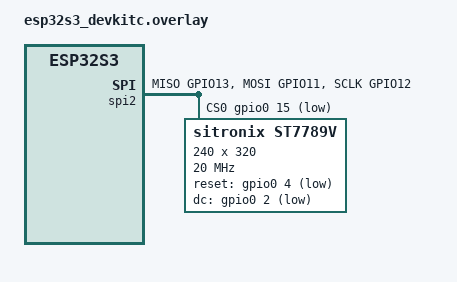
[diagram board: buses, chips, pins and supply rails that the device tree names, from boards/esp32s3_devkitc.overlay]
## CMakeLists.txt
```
# SPDX-License-Identifier: Apache-2.0

cmake_minimum_required(VERSION 3.20.0)

#set(SHIELD st7789v_tl019fqv01)

find_package(Zephyr REQUIRED HINTS $ENV{ZEPHYR_BASE})
project(lvgl)

#FILE(GLOB app_sources src/main.c)
#target_sources(app PRIVATE ${app_sources})

FILE(GLOB app_sources src/mainplot.c src/lvgl_demo_ui.c)
target_sources(app PRIVATE ${app_sources})
```

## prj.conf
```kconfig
CONFIG_LV_Z_SHELL=y

CONFIG_LOG=y
CONFIG_SHELL=y

# 启用ARM MPU（Memory Protection Unit）配置
CONFIG_ARM_MPU=y
 
# 设置堆内存池大小为8192字节
CONFIG_HEAP_MEM_POOL_SIZE=8192
 
# 启用I2C配置
CONFIG_I2C=y
 
# 设置主栈大小为2048字节
CONFIG_MAIN_STACK_SIZE=2048
 
# 启用硬件栈保护
CONFIG_HW_STACK_PROTECTION=y
 
# 启用GPIO配置
CONFIG_GPIO=y
 
# 启用控制台配置
CONFIG_CONSOLE=y
 
# 启用显示配置
CONFIG_DISPLAY=y
CONFIG_DISPLAY_LOG_LEVEL_ERR=y
CONFIG_ST7789V=y
CONFIG_SPI=y

# 启用LVGL图形库配置
CONFIG_LVGL=y
 
# 使用LVGL最小配置
CONFIG_LV_CONF_MINIMAL=y
 
# 使用自定义LVGL内存管理
CONFIG_LV_MEM_CUSTOM=y
 
# 设置LVGL z缓冲区内存池大小为8192字节
CONFIG_LV_Z_MEM_POOL_SIZE=8192
 
# 设置LVGL z缓冲区大小为16
CONFIG_LV_Z_VDB_SIZE=16
 
# 设置LVGL每个像素的位数为16
CONFIG_LV_Z_BITS_PER_PIXEL=16
 
# 启用LVGL仪表盘组件
CONFIG_LV_USE_METER=y
 
# 使用默认主题
CONFIG_LV_USE_THEME_DEFAULT=y
 
# 使用默认主题的暗黑模式
CONFIG_LV_THEME_DEFAULT_DARK=y
 
# 启用LVGL日志功能
CONFIG_LV_USE_LOG=y
 
# 启用LVGL标签组件
CONFIG_LV_USE_LABEL=y
 
# 启用LVGL按钮组件
CONFIG_LV_USE_BTN=y
 
# 启用LVGL弧形组件
CONFIG_LV_USE_ARC=y
 
# 启用LVGL图片组件
CONFIG_LV_USE_IMG=y
 
# 启用LVGL压力测试工具
CONFIG_LV_USE_MONKEY=y
 
# 启用蒙塞拉特字体14号
CONFIG_LV_FONT_MONTSERRAT_14=y
```

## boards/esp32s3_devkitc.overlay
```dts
#include <zephyr/dt-bindings/mipi_dbi/mipi_dbi.h>
 
/ {
    chosen {
        zephyr,display = &st7789v;
    };
};

/* ESP32-S3 SPI2 configuration */
&spi2 {
    status = "okay";
    pinctrl-0 = <&spim2_default>;
    pinctrl-names = "default";
    cs-gpios = <&gpio0 15 GPIO_ACTIVE_LOW>;

    st7789v: st7789v@0 {
        compatible = "sitronix,st7789v";  // Must match exactly
        reg = <0>;
        spi-max-frequency = <20000000>;
        width = <240>;
        height = <320>;
        reset-gpios = <&gpio0 4 GPIO_ACTIVE_LOW>;
        dc-gpios = <&gpio0 2 GPIO_ACTIVE_LOW>;
        rotation = <0>;
    };
};

/* ESP32-S3 specific pinctrl */
&pinctrl {
    spim2_default: spim2_default {
        group1 {
            pinmux = <SPIM2_MISO_GPIO13>,
                     <SPIM2_MOSI_GPIO11>,
                     <SPIM2_SCLK_GPIO12>;
            bias-pull-up;
        };
    };
};
```

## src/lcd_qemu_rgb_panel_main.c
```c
/*
 * SPDX-FileCopyrightText: 2023 Espressif Systems (Shanghai) CO LTD
 *
 * SPDX-License-Identifier: CC0-1.0
 */
 
#include <stdio.h>
#include "sdkconfig.h"
#include "freertos/FreeRTOS.h"
#include "freertos/task.h"
#include "freertos/semphr.h"
#include "esp_timer.h"
#include "esp_lcd_panel_ops.h"
#include "esp_lcd_qemu_rgb.h"
#include "driver/gpio.h"
#include "esp_err.h"
#include "esp_log.h"
#include "lvgl.h"
 
static const char *TAG = "example";
 
/**
 * 32-bit and 16-bit colors are currently supported by QEMU RGB Panel
 */
#if CONFIG_LV_COLOR_DEPTH_32
#define CURRENT_COLOR_DEPTH RGB_QEMU_BPP_32
#elif CONFIG_LV_COLOR_DEPTH_16
#define CURRENT_COLOR_DEPTH RGB_QEMU_BPP_16
#else
#error "QEMU RGB Panel only supports 32-bit and 16-bit colors, please enable LV_COLOR_DEPTH_32 or LV_COLOR_DEPTH_16"
#endif
 
// The pixel number in horizontal and vertical
#define EXAMPLE_LCD_H_RES              800
#define EXAMPLE_LCD_V_RES              480
 
#define EXAMPLE_LVGL_TICK_PERIOD_MS    2
#define EXAMPLE_LVGL_TASK_MAX_DELAY_MS 500
#define EXAMPLE_LVGL_TASK_MIN_DELAY_MS 1
#define EXAMPLE_LVGL_TASK_STACK_SIZE   (4 * 1024)
#define EXAMPLE_LVGL_TASK_PRIORITY     2
 
static SemaphoreHandle_t lvgl_mux = NULL;
 
extern void example_lvgl_demo_ui(lv_disp_t *disp);
 
 
static void example_lvgl_flush_cb(lv_disp_drv_t *drv, const lv_area_t *area, lv_color_t *color_map)
{
    esp_lcd_panel_handle_t panel_handle = (esp_lcd_panel_handle_t) drv->user_data;
    int offsetx1 = area->x1;
    int offsetx2 = area->x2;
    int offsety1 = area->y1;
    int offsety2 = area->y2;
    // pass the draw buffer to the driver
    esp_lcd_panel_draw_bitmap(panel_handle, offsetx1, offsety1, offsetx2 + 1, offsety2 + 1, color_map);
    lv_disp_flush_ready(drv);
}
 
static void example_increase_lvgl_tick(void *arg)
{
    /* Tell LVGL how many milliseconds has elapsed */
    lv_tick_inc(EXAMPLE_LVGL_TICK_PERIOD_MS);
}
 
bool example_lvgl_lock(int timeout_ms)
{
    // Convert timeout in milliseconds to FreeRTOS ticks
    // If `timeout_ms` is set to -1, the program will block until the condition is met
    const TickType_t timeout_ticks = (timeout_ms == -1) ? portMAX_DELAY : pdMS_TO_TICKS(timeout_ms);
    return xSemaphoreTakeRecursive(lvgl_mux, timeout_ticks) == pdTRUE;
}
 
void example_lvgl_unlock(void)
{
    xSemaphoreGiveRecursive(lvgl_mux);
}
 
static void example_lvgl_port_task(void *arg)
{
    ESP_LOGI(TAG, "Starting LVGL task");
    uint32_t task_delay_ms = EXAMPLE_LVGL_TASK_MAX_DELAY_MS;
    while (1) {
        // Lock the mutex due to the LVGL APIs are not thread-safe
        if (example_lvgl_lock(-1)) {
            task_delay_ms = lv_timer_handler();
            // Release the mutex
            example_lvgl_unlock();
        }
        if (task_delay_ms > EXAMPLE_LVGL_TASK_MAX_DELAY_MS) {
            task_delay_ms = EXAMPLE_LVGL_TASK_MAX_DELAY_MS;
        } else if (task_delay_ms < EXAMPLE_LVGL_TASK_MIN_DELAY_MS) {
            task_delay_ms = EXAMPLE_LVGL_TASK_MIN_DELAY_MS;
        }
        vTaskDelay(pdMS_TO_TICKS(task_delay_ms));
    }
}

static size_t example_lvgl_get_buffers(esp_lcd_panel_handle_t panel_handle, void **buf1, void **buf2)
{
    if (buf2) {
        *buf2 = NULL;
    }
#if CONFIG_EXAMPLE_QEMU_RGB_PANEL_DEDIC_FB
    ESP_LOGI(TAG, "Use QEMU dedicated frame buffer as LVGL draw buffer");
    ESP_ERROR_CHECK(esp_lcd_rgb_qemu_get_frame_buffer(panel_handle, buf1));
    return EXAMPLE_LCD_H_RES * EXAMPLE_LCD_V_RES;
#else
    ESP_LOGI(TAG, "Allocate separate LVGL draw buffer");
    /* Allocate 10 horizontal lines as the frame buffer */
    *buf1 = malloc(EXAMPLE_LCD_H_RES * 10 * sizeof(lv_color_t));
    assert(*buf1);
    return EXAMPLE_LCD_H_RES * 10;
#endif // CONFIG_EXAMPLE_DOUBLE_FB
}

void app_main(void)
{
    static lv_disp_draw_buf_t disp_buf; // contains internal graphic buffer(s) called draw buffer(s)
    static lv_disp_drv_t disp_drv;      // contains callback functions
 
    ESP_LOGI(TAG, "Install RGB LCD panel driver");
    esp_lcd_panel_handle_t panel_handle = NULL;
    esp_lcd_rgb_qemu_config_t panel_config = {
        .width = EXAMPLE_LCD_H_RES,
        .height = EXAMPLE_LCD_V_RES,
        .bpp = CURRENT_COLOR_DEPTH,
    };
    ESP_ERROR_CHECK(esp_lcd_new_rgb_qemu(&panel_config, &panel_handle));
 
    ESP_LOGI(TAG, "Initialize RGB LCD panel");
    ESP_ERROR_CHECK(esp_lcd_panel_reset(panel_handle));
    ESP_ERROR_CHECK(esp_lcd_panel_init(panel_handle));
 
    ESP_LOGI(TAG, "Initialize LVGL library");
    lv_init();
    void *buf1 = NULL;
    void *buf2 = NULL;
    const size_t buf_pixels = example_lvgl_get_buffers(panel_handle, &buf1, &buf2);
    lv_disp_draw_buf_init(&disp_buf, buf1, buf2, buf_pixels);

    ESP_LOGI(TAG, "Register display driver to LVGL");
    lv_disp_drv_init(&disp_drv);
    disp_drv.hor_res = EXAMPLE_LCD_H_RES;
    disp_drv.ver_res = EXAMPLE_LCD_V_RES;
    disp_drv.flush_cb = example_lvgl_flush_cb;
    disp_drv.draw_buf = &disp_buf;
    disp_drv.user_data = panel_handle;
#if CONFIG_EXAMPLE_QEMU_RGB_PANEL_DEDIC_FB
    disp_drv.full_refresh = true; // the full_refresh mode can maintain the synchronization between the two frame buffers
#endif
    lv_disp_t *disp = lv_disp_drv_register(&disp_drv);

    ESP_LOGI(TAG, "Install LVGL tick timer");
    // Tick interface for LVGL (using esp_timer to generate 2ms periodic event)
    const esp_timer_create_args_t lvgl_tick_timer_args = {
        .callback = &example_increase_lvgl_tick,
        .name = "lvgl_tick"
    };
    esp_timer_handle_t lvgl_tick_timer = NULL;
    ESP_ERROR_CHECK(esp_timer_create(&lvgl_tick_timer_args, &lvgl_tick_timer));
    ESP_ERROR_CHECK(esp_timer_start_periodic(lvgl_tick_timer, EXAMPLE_LVGL_TICK_PERIOD_MS * 1000));
 
    lvgl_mux = xSemaphoreCreateRecursiveMutex();
    assert(lvgl_mux);
    ESP_LOGI(TAG, "Create LVGL task");
    xTaskCreate(example_lvgl_port_task, "LVGL", EXAMPLE_LVGL_TASK_STACK_SIZE, NULL, EXAMPLE_LVGL_TASK_PRIORITY, NULL);
 
    ESP_LOGI(TAG, "Display LVGL Scatter Chart");
    // Lock the mutex due to the LVGL APIs are not thread-safe
    if (example_lvgl_lock(-1)) {
        example_lvgl_demo_ui(disp);
        // Release the mutex
        example_lvgl_unlock();
    }
}
```

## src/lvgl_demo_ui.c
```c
/*
 * SPDX-FileCopyrightText: 2023 Espressif Systems (Shanghai) CO LTD
 *
 * SPDX-License-Identifier: CC0-1.0
 */
 
// This demo UI is adapted from LVGL official example: https://docs.lvgl.io/master/examples.html#scatter-chart

#include <lvgl.h>
#include <stdio.h>
 
static void draw_event_cb(lv_event_t *e)
{
  /*lv_draw_line_dsc_t line_dsc;
  lv_draw_line_dsc_init(&line_dsc);
  lv_obj_init_draw_line_dsc(obj, LV_PART_INDICATOR, &line_dsc); // Fetching style for LV_PART_INDICATOR
  line_dsc.p1 = point_a;
  line_dsc.p2 = point_b;
  lv_draw_line(layer, &line_dsc);*/

/*    lv_obj_draw_part_dsc_t *dsc = lv_event_get_draw_part_dsc(e);
    if (dsc->part == LV_PART_ITEMS) {
        lv_obj_t *obj = lv_event_get_target(e);
        lv_chart_series_t *ser = lv_chart_get_series_next(obj, NULL);
        uint32_t cnt = lv_chart_get_point_count(obj);
        dsc->rect_dsc->bg_opa = (LV_OPA_COVER *  dsc->id) / (cnt - 1);
 
        lv_coord_t *x_array = lv_chart_get_x_array(obj, ser);
        lv_coord_t *y_array = lv_chart_get_y_array(obj, ser);
        uint32_t start_point = lv_chart_get_x_start_point(obj, ser);
        uint32_t p_act = (start_point + dsc->id) % cnt;
        lv_opa_t x_opa = (x_array[p_act] * LV_OPA_50) / 200;
        lv_opa_t y_opa = (y_array[p_act] * LV_OPA_50) / 1000;
 
        dsc->rect_dsc->bg_color = lv_color_mix(lv_palette_main(LV_PALETTE_RED),
                                               lv_palette_main(LV_PALETTE_BLUE),
                                               x_opa + y_opa);
    }*/
}
 
static void add_data(lv_timer_t *timer)
{
    lv_obj_t *chart = lv_timer_get_user_data(timer);
    lv_chart_set_next_value2(chart, lv_chart_get_series_next(chart, NULL), lv_rand(0, 200), lv_rand(0, 1000));
}
 
void example_lvgl_demo_ui(/*lv_disp_t *disp*/)
{
    //lv_obj_t *scr = lv_disp_get_scr_act(disp);
    lv_obj_t *scr = lv_screen_active();
    lv_obj_t *chart = lv_chart_create(scr);
    lv_obj_set_size(chart, 200, 150);
    lv_obj_align(chart, LV_ALIGN_CENTER, 0, 0);
    lv_obj_add_event_cb(chart, draw_event_cb, LV_EVENT_DRAW_MAIN_BEGIN, NULL);
    lv_obj_set_style_line_width(chart, 0, LV_PART_ITEMS);   /*Remove the lines*/
 
    lv_chart_set_type(chart, LV_CHART_TYPE_SCATTER);
 
    //lv_chart_set_axis_tick(chart, LV_CHART_AXIS_PRIMARY_X, 5, 5, 5, 1, true, 30);
    //lv_chart_set_axis_tick(chart, LV_CHART_AXIS_PRIMARY_Y, 10, 5, 6, 5, true, 50);
    //lv_scale_set_total_tick_count(chart, 5);
    //lv_scale_set_major_tick_every(chart, 1);

    lv_chart_set_range(chart, LV_CHART_AXIS_PRIMARY_X, 0, 200);
    lv_chart_set_range(chart, LV_CHART_AXIS_PRIMARY_Y, 0, 1000);
 
    lv_chart_set_point_count(chart, 50);
 
    lv_chart_series_t *ser = lv_chart_add_series(chart, lv_palette_main(LV_PALETTE_RED), LV_CHART_AXIS_PRIMARY_Y);
    for (int i = 0; i < 50; i++) {
        lv_chart_set_next_value2(chart, ser, lv_rand(0, 200), lv_rand(0, 1000));
    }
 
    lv_timer_create(add_data, 100, chart);
}
```

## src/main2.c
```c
/*
 * Copyright (c) 2018 Jan Van Winkel <jan.van_winkel@dxplore.eu>
 *
 * SPDX-License-Identifier: Apache-2.0
 */
 
#include <zephyr/device.h>
#include <zephyr/devicetree.h>
#include <zephyr/drivers/display.h>
#include <zephyr/drivers/gpio.h>
#include <lvgl.h>
#include <stdio.h>
#include <string.h>
#include <zephyr/kernel.h>
#include <lvgl_input_device.h>
 
#define LOG_LEVEL CONFIG_LOG_DEFAULT_LEVEL
#include <zephyr/logging/log.h>
LOG_MODULE_REGISTER(app);
 
#define LED0_NODE DT_ALIAS(led0)
static const struct gpio_dt_spec led = GPIO_DT_SPEC_GET(LED0_NODE, gpios);
 
static uint32_t count;
 
#ifdef CONFIG_GPIO
static struct gpio_dt_spec button_gpio = GPIO_DT_SPEC_GET_OR(DT_ALIAS(sw0), gpios, {0});
static struct gpio_callback button_callback;
 
static void button_isr_callback(const struct device *port, struct gpio_callback *cb, uint32_t pins)
{
  ARG_UNUSED(port);
  ARG_UNUSED(cb);
  ARG_UNUSED(pins);
 
  count = 0;
}
#endif /* CONFIG_GPIO */
 
#ifdef CONFIG_LV_Z_ENCODER_INPUT
static const struct device *lvgl_encoder =
  DEVICE_DT_GET(DT_COMPAT_GET_ANY_STATUS_OKAY(zephyr_lvgl_encoder_input));
#endif /* CONFIG_LV_Z_ENCODER_INPUT */
 
#ifdef CONFIG_LV_Z_KEYPAD_INPUT
static const struct device *lvgl_keypad =
  DEVICE_DT_GET(DT_COMPAT_GET_ANY_STATUS_OKAY(zephyr_lvgl_keypad_input));
#endif /* CONFIG_LV_Z_KEYPAD_INPUT */
 
static void lv_btn_click_callback(lv_event_t *e)
{
  ARG_UNUSED(e);
 
  count = 0;
}
 
int main(void)
{
  char count_str[11] = {0};
  const struct device *display_dev;
  lv_obj_t *hello_world_label;
  lv_obj_t *count_label;
 
  display_dev = DEVICE_DT_GET(DT_CHOSEN(zephyr_display));
  if (!device_is_ready(display_dev)) {
    LOG_ERR("Device not ready, aborting test");
    return 0;
  }
 
  lv_obj_t *hello_world_button;
 
  hello_world_button = lv_btn_create(lv_scr_act());
  lv_obj_align(hello_world_button, LV_ALIGN_CENTER, 0, -15);
  lv_obj_add_event_cb(hello_world_button, lv_btn_click_callback, LV_EVENT_CLICKED, NULL);
  hello_world_label = lv_label_create(hello_world_button);
 
  lv_label_set_text(hello_world_label, "Hello world!");
  lv_obj_align(hello_world_label, LV_ALIGN_CENTER, 0, 0);
 
  count_label = lv_label_create(lv_scr_act());
  lv_obj_align(count_label, LV_ALIGN_BOTTOM_MID, 0, 0);
 
  lv_task_handler();
  display_blanking_off(display_dev);
 
  gpio_pin_configure_dt(&led, GPIO_OUTPUT);
  gpio_pin_set(led.port, led.pin, 1);
  display_blanking_off(display_dev);
 
  while (1) {
    if ((count % 100) == 0U) {
      sprintf(count_str, "%d", count / 100U);
      lv_label_set_text(count_label, count_str);
    }
    lv_task_handler();
    ++count;
    k_sleep(K_MSEC(10));
  }
}
```
